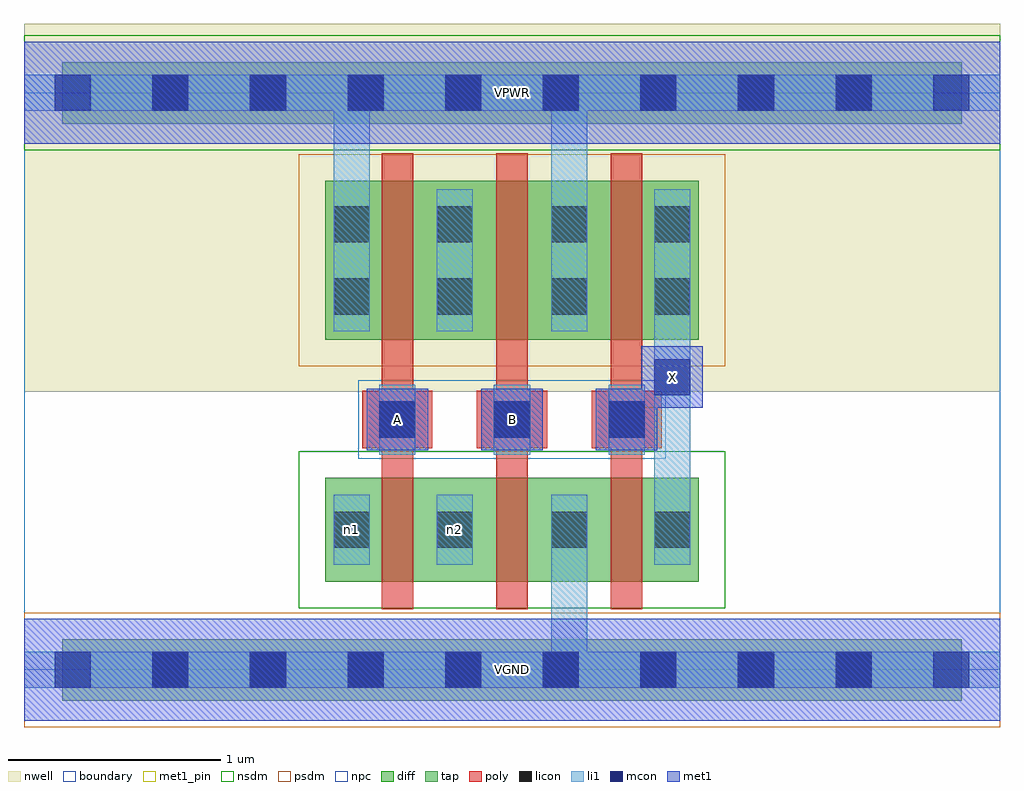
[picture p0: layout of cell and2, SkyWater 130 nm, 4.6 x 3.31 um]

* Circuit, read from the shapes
.subckt and2 A B VGND VPWR X n1 n2
XM1 n2 A n1 VGND sky130_fd_pr__nfet_01v8 w=0.49 l=0.15
XM2 VGND B n2 VGND sky130_fd_pr__nfet_01v8 w=0.49 l=0.15
XM3 X X VGND VGND sky130_fd_pr__nfet_01v8 w=0.49 l=0.15
XM4 n3 A VPWR VPWR sky130_fd_pr__pfet_01v8 w=0.75 l=0.15
XM5 VPWR B n3 VPWR sky130_fd_pr__pfet_01v8 w=0.75 l=0.15
XM6 X X VPWR VPWR sky130_fd_pr__pfet_01v8 w=0.75 l=0.15
.ends

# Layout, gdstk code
import gdstk
lib = gdstk.Library(unit=1e-6, precision=1e-09)
def R(c, l, rs):  # rectangles x0, y0, x1, y1
    for r in rs: c.add(gdstk.rectangle(r[:2], r[2:], *l))
def A(c, l, x, y, w, h, nx, ny, dx, dy):  # array of equal rectangles
    R(c, l, [(x+i*dx, y+j*dy, x+i*dx+w, y+j*dy+h) for i in range(nx) for j in range(ny)])
nwell = (64, 20)
diff = (65, 20)
tap = (65, 44)
poly = (66, 20)
licon = (66, 44)
li1 = (67, 20)
mcon = (67, 44)
met1_pin = (68, 16)
met1 = (68, 20)
nsdm = (93, 44)
psdm = (94, 20)
npc = (95, 20)
boundary = (235, 4)

and2 = lib.new_cell('and2')
R(and2, nwell, [(0,1.31,4.6,3.045)])
R(and2, diff, [(1.42,0.415,3.18,0.905), (1.42,1.555,3.18,2.305)])
R(and2, tap, [(0.18,-0.145,4.42,0.145), (0.18,2.575,4.42,2.865)])
A(and2, poly, 1.685, 0.285, 0.15, 2.15, 3, 1, 0.54, 0)
A(and2, poly, 1.595, 1.045, 0.33, 0.27, 3, 1, 0.54, 0)
A(and2, licon, 0.605, -0.085, 0.17, 0.17, 8, 2, 0.46, 2.72)
A(and2, licon, 1.675, 1.095, 0.17, 0.17, 3, 1, 0.54, 0)
R(and2, licon, [(1.46,0.575,1.63,0.745), (1.945,0.575,2.115,0.745), (2.485,0.575,2.655,0.745), (2.97,0.575,3.14,0.745), (1.46,1.675,1.63,1.845), (1.945,1.675,2.115,1.845), (2.485,1.675,2.655,1.845), (2.97,1.675,3.14,1.845), (1.46,2.015,1.63,2.185), (1.945,2.015,2.115,2.185), (2.485,2.015,2.655,2.185), (2.97,2.015,3.14,2.185)])
A(and2, li1, 1.675, 1.015, 0.17, 0.33, 3, 1, 0.54, 0)
R(and2, li1, [(0,-0.085,4.6,0.085), (2.485,-0.085,2.655,0.825), (1.46,0.495,1.63,0.825), (1.945,0.495,2.115,0.825), (2.485,0.495,2.655,0.825), (2.97,0.495,3.14,0.825), (2.97,0.495,3.14,2.265), (1.46,1.595,1.63,2.265), (1.46,1.595,1.63,2.805), (1.945,1.595,2.115,2.265), (2.485,1.595,2.655,2.265), (2.485,1.595,2.655,2.805), (2.97,1.595,3.14,2.265), (0,2.635,4.6,2.805)])
A(and2, mcon, 0.145, -0.085, 0.17, 0.17, 10, 2, 0.46, 2.72)
A(and2, mcon, 1.675, 1.095, 0.17, 0.17, 3, 1, 0.54, 0)
R(and2, mcon, [(2.97,1.295,3.14,1.465)])
R(and2, met1_pin, [(0,-0.24,4.6,0.24), (1.615,1.035,1.905,1.325), (2.155,1.035,2.445,1.325), (2.91,1.235,3.2,1.525), (0,2.48,4.6,2.96)])
A(and2, met1, 1.615, 1.035, 0.29, 0.29, 3, 1, 0.54, 0)
R(and2, met1, [(0,-0.24,4.6,0.24), (2.91,1.235,3.2,1.525), (0,2.48,4.6,2.96)])
R(and2, nsdm, [(1.295,0.29,3.305,1.03), (0,2.45,4.6,2.99)])
R(and2, psdm, [(0,-0.27,4.6,0.27), (1.295,1.43,3.305,2.43)])
R(and2, npc, [(1.575,0.995,3.025,1.365)])
R(and2, boundary, [(0,0,4.6,2.72)])
and2.add(gdstk.Label('n1', (1.545,0.66), layer=67, texttype=5))
and2.add(gdstk.Label('n2', (2.03,0.66), layer=67, texttype=5))
and2.add(gdstk.Label('A', (1.76,1.18), layer=68, texttype=5))
and2.add(gdstk.Label('B', (2.3,1.18), layer=68, texttype=5))
and2.add(gdstk.Label('X', (3.055,1.38), layer=68, texttype=5))
and2.add(gdstk.Label('VPWR', (2.3,2.72), layer=68, texttype=5))
and2.add(gdstk.Label('VGND', (2.3,0), layer=68, texttype=5))
and2.add(gdstk.Label('A', (1.76,1.18), layer=68, texttype=16))
and2.add(gdstk.Label('B', (2.3,1.18), layer=68, texttype=16))
and2.add(gdstk.Label('X', (3.055,1.38), layer=68, texttype=16))
and2.add(gdstk.Label('VPWR', (2.3,2.72), layer=68, texttype=16))
and2.add(gdstk.Label('VGND', (2.3,0), layer=68, texttype=16))

lib.write_gds('and2.gds')
